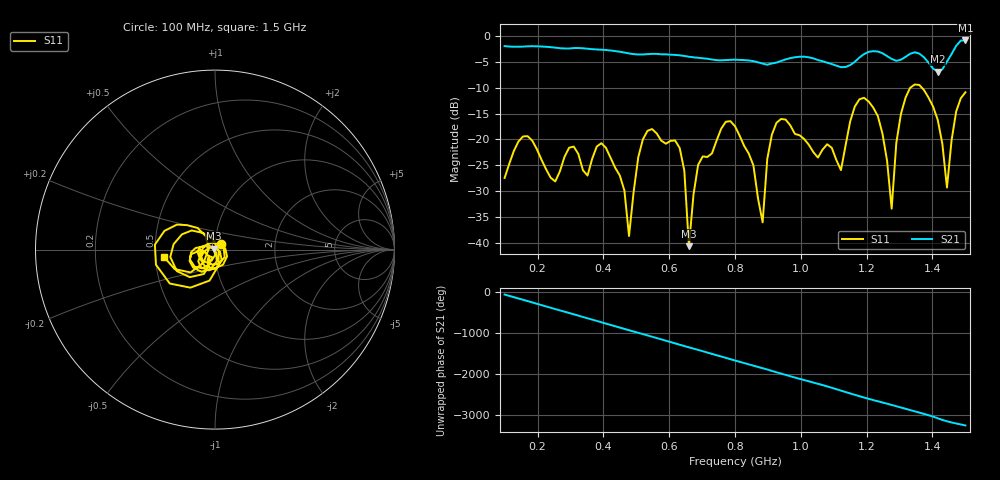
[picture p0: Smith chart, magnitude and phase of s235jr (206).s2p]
! NanoVNA-App
! Date: 2025-09-25 15:05:46
! Start: 100MHz Stop: 1,5GHz Points: 101
! S-Parameter data: F S11 S21 S12 S22
# Hz S RI R 50
!  Frequency  S11_Real  S11_Imag  S21_Real  S21_Imag  S12_Real  S12_Imag  S22_Real  S22_Imag
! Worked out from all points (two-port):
!   101 points, 100 MHz to 1.5 GHz, reference 50 ohm
!   highest |S21| = -0.86 dB at 1.5 GHz (marker M1); lowest = -6.9 dB at 1.416 GHz (marker M2)
!   |S21| within 3 dB of the highest: start of sweep to 645.9 MHz; 1.184 GHz to 1.261 GHz (76.83 MHz wide, 6.28 % of centre) (the widest 2 of 4)
!   lowest |S11| = -40.7 dB at 660 MHz (marker M3), VSWR 1.02, Z = 49.3 + j0.58 ohm
!   |S11| at or under -10 dB: start of sweep to 1.333 GHz; 1.368 GHz to end of sweep
!   S12 and S22 are empty: the file has one direction only
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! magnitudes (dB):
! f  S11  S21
! 100 MHz  -27.5  -2.0
! 156 MHz  -19.4  -2.1
! 338 MHz  -26.0  -2.4
! 408 MHz  -21.7  -2.7
! 478 MHz  -38.7  -3.4
! 520 MHz  -20.0  -3.6
! 576 MHz  -20.3  -3.5
! 632 MHz  -21.7  -3.7
! 660 MHz  -40.7  -4.0
! 688 MHz  -24.9  -4.2
! 800 MHz  -17.5  -4.6
! 884 MHz  -36.1  -5.3
! 926 MHz  -16.8  -5.2
! 1.038 GHz  -22.5  -4.3
! 1.122 GHz  -26.0  -6.0
! 1.192 GHz  -12.0  -3.5
! 1.248 GHz  -18.9  -3.3
! 1.276 GHz  -33.4  -4.4
! 1.332 GHz  -10.0  -3.4
! 1.416 GHz  -16.2  -6.9
! 1.444 GHz  -29.3  -5.0
! 1.5 GHz  -10.9  -0.9
